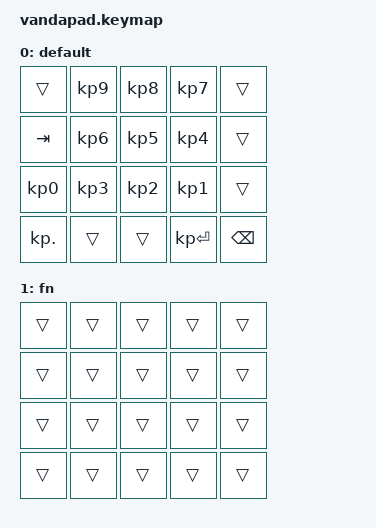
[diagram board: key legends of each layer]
/*
 * Copyright (c) 2021 The ZMK Contributors
 *
 * SPDX-License-Identifier: MIT
 */

#include <behaviors.dtsi>
#include <dt-bindings/zmk/keys.h>
#include <dt-bindings/zmk/bt.h>
#include <dt-bindings/zmk/outputs.h>



/ {
    keymap: keymap {
        compatible = "zmk,keymap";

        default_layer {
            display-name = "default";
            bindings = <
            //╭───────────┬───────────┬───────────┬───────────┬───────────╮
                &trans      &kp KP_N9   &kp KP_N8   &kp KP_N7   &trans
            //├───────────┼───────────┼───────────┼───────────┼───────────┤
                &kp TAB     &kp KP_N6   &kp KP_N5   &kp KP_N4   &trans
            //├───────────┼───────────┼───────────┼───────────┼───────────┤
                &kp KP_N0   &kp KP_N3   &kp KP_N2   &kp KP_N1   &trans
            //├───────────┼───────────┼───────────┼───────────┼───────────┤
                &kp KP_DOT  &trans      &trans     &kp KP_ENTER &kp BSPC
            //╰───────────┴───────────┴───────────┴───────────┴───────────╯
            >;
        };

        fn_layer {
            display-name = "fn";
            bindings = <
            //╭───────────┬───────────┬───────────┬───────────┬───────────╮
                &trans      &trans      &trans      &trans      &trans
            //├───────────┼───────────┼───────────┼───────────┼───────────┤
                &trans      &trans      &trans      &trans      &trans
            //├───────────┼───────────┼───────────┼───────────┼───────────┤
                &trans      &trans      &trans      &trans      &trans
            //├───────────┼───────────┼───────────┼───────────┼───────────┤
                &trans      &trans      &trans      &trans      &trans
            //╰───────────┴───────────┴───────────┴───────────┴───────────╯
            >;
        };

    };
};
